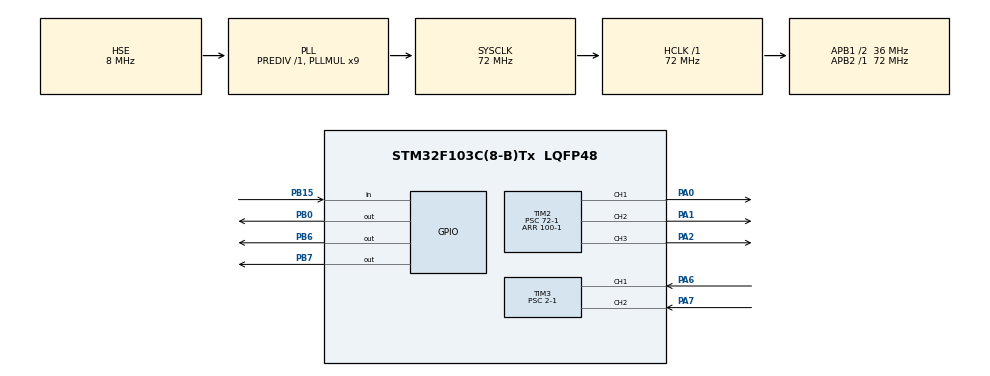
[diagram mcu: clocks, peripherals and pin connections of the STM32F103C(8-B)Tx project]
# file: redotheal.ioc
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Mcu.Family=STM32F1
Mcu.Name=STM32F103C(8-B)Tx
Mcu.Package=LQFP48
NVIC.PriorityGroup=NVIC_PRIORITYGROUP_4
NVIC.TIM2_IRQn=true\:0\:0\:false\:false\:true\:true\:true\:true
PA0-WKUP.Signal=S_TIM2_CH1_ETR
PA1.Signal=S_TIM2_CH2
PA13.Mode=Serial_Wire
PA13.Signal=SYS_JTMS-SWDIO
PA14.Mode=Serial_Wire
PA14.Signal=SYS_JTCK-SWCLK
PA2.Signal=S_TIM2_CH3
PA6.GPIO_PuPd=GPIO_PULLUP
PA6.Signal=S_TIM3_CH1
PA7.GPIO_PuPd=GPIO_PULLUP
PA7.Signal=S_TIM3_CH2
PB0.GPIO_PuPd=GPIO_PULLUP
PB0.Signal=GPIO_Output
PB15.GPIO_PuPd=GPIO_PULLUP
PB15.Signal=GPIO_Input
PB6.GPIO_ModeDefaultOutputPP=GPIO_MODE_OUTPUT_OD
PB6.GPIO_PuPd=GPIO_PULLUP
PB6.GPIO_Speed=GPIO_SPEED_FREQ_HIGH
PB6.PinState=GPIO_PIN_SET
PB6.Signal=GPIO_Output
PB7.GPIO_ModeDefaultOutputPP=GPIO_MODE_OUTPUT_OD
PB7.GPIO_PuPd=GPIO_PULLUP
PB7.GPIO_Speed=GPIO_SPEED_FREQ_HIGH
PB7.PinState=GPIO_PIN_SET
PB7.Signal=GPIO_Output
PD0-OSC_IN.Mode=HSE-External-Oscillator
PD0-OSC_IN.Signal=RCC_OSC_IN
PD1-OSC_OUT.Mode=HSE-External-Oscillator
PD1-OSC_OUT.Signal=RCC_OSC_OUT
ProjectManager.HeapSize=0x200
ProjectManager.StackSize=0x400
ProjectManager.TargetToolchain=CMake
RCC.AHBFreq_Value=72000000
RCC.APB1CLKDivider=RCC_HCLK_DIV2
RCC.APB1Freq_Value=36000000
RCC.APB1TimFreq_Value=72000000
RCC.APB2Freq_Value=72000000
RCC.APB2TimFreq_Value=72000000
RCC.HCLKFreq_Value=72000000
RCC.PLLMUL=RCC_PLL_MUL9
RCC.PLLSourceVirtual=RCC_PLLSOURCE_HSE
RCC.SYSCLKFreq_VALUE=72000000
RCC.SYSCLKSource=RCC_SYSCLKSOURCE_PLLCLK
RCC.USBFreq_Value=72000000
SH.S_TIM2_CH1_ETR.0=TIM2_CH1,PWM Generation1 CH1
SH.S_TIM2_CH2.0=TIM2_CH2,PWM Generation2 CH2
SH.S_TIM2_CH3.0=TIM2_CH3,PWM Generation3 CH3
SH.S_TIM3_CH1.0=TIM3_CH1,Encoder_Interface
SH.S_TIM3_CH2.0=TIM3_CH2,Encoder_Interface
TIM2.AutoReloadPreload=TIM_AUTORELOAD_PRELOAD_ENABLE
TIM2.Channel-PWM\ Generation1\ CH1=TIM_CHANNEL_1
TIM2.Channel-PWM\ Generation2\ CH2=TIM_CHANNEL_2
TIM2.Channel-PWM\ Generation3\ CH3=TIM_CHANNEL_3
TIM2.Period=100-1
TIM2.Prescaler=72-1
TIM3.EncoderMode=TIM_ENCODERMODE_TI1
TIM3.Prescaler=2-1
VP_TIM2_VS_ClockSourceINT.Mode=Internal
board=custom

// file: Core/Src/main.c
/* USER CODE BEGIN Header */
/**
  ******************************************************************************
  * @file           : main.c
  * @brief          : Main program body
  ******************************************************************************
  * @attention
  *
  * Copyright (c) 2026 STMicroelectronics.
  * All rights reserved.
  *
  * This software is licensed under terms that can be found in the LICENSE file
  * in the root directory of this software component.
  * If no LICENSE file comes with this software, it is provided AS-IS.
  *
  ******************************************************************************
  */
/* USER CODE END Header */
#include "main.h"
#include "tim.h"
#include "gpio.h"

/* USER CODE BEGIN Includes */
#include "oled.h"
#include <stdio.h>
/* USER CODE END Includes */

/* USER CODE BEGIN PV */
#define COLOR_RED 0
#define COLOR_GREEN 1
#define COLOR_YELLOW 2
int  bright = 50;
uint8_t led_s  = COLOR_RED;
/* USER CODE END PV */

void SystemClock_Config(void);

/* USER CODE BEGIN 0 */
void select_led(uint8_t choose, uint8_t temp_CCR)
{
    switch (choose)
    {
        case 0: __HAL_TIM_SetCompare(&htim2, TIM_CHANNEL_1, temp_CCR); break;
        case 1: __HAL_TIM_SetCompare(&htim2, TIM_CHANNEL_2, temp_CCR); break;
        case 2: __HAL_TIM_SetCompare(&htim2, TIM_CHANNEL_3, temp_CCR); break;
    }
}
/* USER CODE END 0 */

int main(void)
{

  /* MCU Configuration--------------------------------------------------------*/

  /* Reset of all peripherals, Initializes the Flash interface and the Systick. */
  HAL_Init();

  /* Configure the system clock */
  SystemClock_Config();

  /* Initialize all configured peripherals */
  MX_GPIO_Init();
  MX_TIM2_Init();
  MX_TIM3_Init();
  /* USER CODE BEGIN 2 */
  HAL_TIM_PWM_Start(&htim2, TIM_CHANNEL_1);
  HAL_TIM_PWM_Start(&htim2, TIM_CHANNEL_2);
  HAL_TIM_PWM_Start(&htim2, TIM_CHANNEL_3);

  HAL_TIM_Encoder_Start(&htim3, TIM_CHANNEL_ALL);
  __HAL_TIM_SET_COUNTER(&htim3, 0);

  select_led(COLOR_RED, 0);
  select_led(COLOR_GREEN, 0);
  select_led(COLOR_YELLOW, 0);
  select_led(COLOR_RED, bright);

  HAL_Delay(20);
  OLED_Init();

  int16_t enc_last = 0;
  /* USER CODE END 2 */

  /* Infinite loop */
  while (1)
  {

    /* USER CODE BEGIN 3 */
    int16_t now   = (int16_t)__HAL_TIM_GET_COUNTER(&htim3);
    int16_t delta = (int16_t)(now - enc_last);

    if(delta !=0)
    {
      enc_last += delta;
      bright += delta*10;

      if (bright > 100) bright = 100;
      if (bright < 0)   bright = 0;

      select_led(led_s, bright);
    }
      if (HAL_GPIO_ReadPin(GPIOB, GPIO_PIN_15) == GPIO_PIN_RESET)
      {
        HAL_Delay(20);
        if (HAL_GPIO_ReadPin(GPIOB, GPIO_PIN_15) == GPIO_PIN_RESET)
        {
              led_s++;
              if (led_s > COLOR_YELLOW) led_s = COLOR_RED;
              select_led(COLOR_RED, 0);
              select_led(COLOR_GREEN, 0);
              select_led(COLOR_YELLOW, 0);
              select_led(led_s, bright);
        }
        while (HAL_GPIO_ReadPin(GPIOB, GPIO_PIN_15) == GPIO_PIN_RESET);
      }
    HAL_Delay(20);

     OLED_NewFrame();
     switch (led_s)
      {
        case 0: OLED_PrintString(0, 0, "颜色：红色", &font16x16, OLED_COLOR_NORMAL); break;
        case 1: OLED_PrintString(0, 0, "颜色：绿色", &font16x16, OLED_COLOR_NORMAL); break;
        case 2: OLED_PrintString(0, 0, "颜色：黄色", &font16x16, OLED_COLOR_NORMAL); break;
      }
        OLED_DrawRectangle(13, 35, 101, 12, OLED_COLOR_NORMAL);
      OLED_DrawFilledRectangle(13, 36, bright, 11, OLED_COLOR_NORMAL);

      OLED_ShowFrame();
      HAL_Delay(20);
  }
  /* USER CODE END 3 */
}

void SystemClock_Config(void)
{
  RCC_OscInitTypeDef RCC_OscInitStruct = {0};
  RCC_ClkInitTypeDef RCC_ClkInitStruct = {0};

  /** Initializes the RCC Oscillators according to the specified parameters
  * in the RCC_OscInitTypeDef structure.
  */
  RCC_OscInitStruct.OscillatorType = RCC_OSCILLATORTYPE_HSE;
  RCC_OscInitStruct.HSEState = RCC_HSE_ON;
  RCC_OscInitStruct.HSEPredivValue = RCC_HSE_PREDIV_DIV1;
  RCC_OscInitStruct.HSIState = RCC_HSI_ON;
  RCC_OscInitStruct.PLL.PLLState = RCC_PLL_ON;
  RCC_OscInitStruct.PLL.PLLSource = RCC_PLLSOURCE_HSE;
  RCC_OscInitStruct.PLL.PLLMUL = RCC_PLL_MUL9;
  if (HAL_RCC_OscConfig(&RCC_OscInitStruct) != HAL_OK)
  {
    Error_Handler();
  }

  /** Initializes the CPU, AHB and APB buses clocks
  */
  RCC_ClkInitStruct.ClockType = RCC_CLOCKTYPE_HCLK|RCC_CLOCKTYPE_SYSCLK
                              |RCC_CLOCKTYPE_PCLK1|RCC_CLOCKTYPE_PCLK2;
  RCC_ClkInitStruct.SYSCLKSource = RCC_SYSCLKSOURCE_PLLCLK;
  RCC_ClkInitStruct.AHBCLKDivider = RCC_SYSCLK_DIV1;
  RCC_ClkInitStruct.APB1CLKDivider = RCC_HCLK_DIV2;
  RCC_ClkInitStruct.APB2CLKDivider = RCC_HCLK_DIV1;

  if (HAL_RCC_ClockConfig(&RCC_ClkInitStruct, FLASH_LATENCY_2) != HAL_OK)
  {
    Error_Handler();
  }
}

void Error_Handler(void)
{
  __disable_irq();
  while (1)
  {
  }
}
